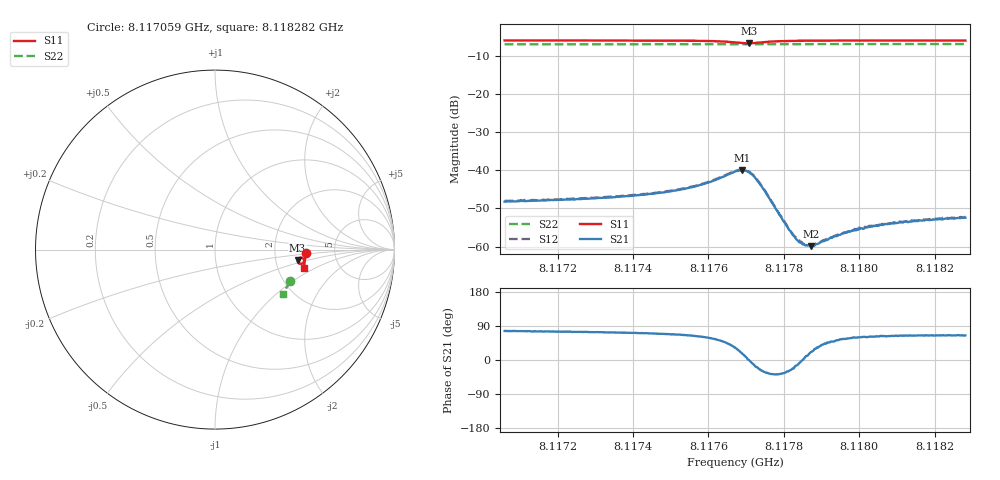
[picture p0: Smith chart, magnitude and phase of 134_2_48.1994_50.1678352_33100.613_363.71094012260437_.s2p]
#  HZ  S  RI  R  50.00
! Rohde & Schwarz Vector Network Analyzer
! Rohde-Schwarz,ZNB20-2Port,1311601062101988,3.16
! Created: UTC 3/20/2024, 11:42:02 AM
! freq[Hz]  re:S11  im:S11  re:S21  im:S21  re:S12  im:S12  re:S22  im:S22
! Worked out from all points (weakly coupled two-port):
!   401 points, 8.117059 GHz to 8.118282 GHz, reference 50 ohm
!   highest |S21| = -39.92 dB at 8.117689 GHz (marker M1); lowest = -59.9 dB at 8.117872 GHz (marker M2)
!   lowest |S11| = -6.7 dB at 8.117707 GHz (marker M3), VSWR 2.73, Z = 133 - j19.7 ohm
!   |S11| at or under -10 dB: nowhere
!   |S22| runs from -6.9 to -6.8 dB; largest |S21 - S12| = 0.00043
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8.1170593e9  0.5056 -0.0216  0.0009 0.00378  0.000955 0.00385  0.4161 -0.1736
8.117264e9  0.5041 -0.0383  0.00115 0.00404  0.00125 0.00414  0.4109 -0.1869
8.1173649e9  0.5028 -0.047  0.00135 0.0043  0.00143 0.00432  0.4082 -0.1933
8.1174688e9  0.5008 -0.057  0.00181 0.00473  0.00187 0.00483  0.4052 -0.2
8.1175299e9  0.4984 -0.0638  0.00227 0.00515  0.0024 0.00523  0.4033 -0.204
8.1175788e9  0.4949 -0.0702  0.00304 0.00566  0.00317 0.00573  0.4018 -0.2073
8.1176704e9  0.4706 -0.0785  0.00814 0.00524  0.00829 0.00521  0.398 -0.2128
8.1176888e9  0.4623 -0.0711  0.0096 0.00311  0.00973 0.00303  0.3973 -0.2134
8.1177071e9  0.4602 -0.0581  0.00949 1.47e-05  0.00966 -0.000101  0.3968 -0.214
8.1177254e9  0.4677 -0.0474  0.0074 -0.00243  0.00769 -0.00245  0.3967 -0.2147
8.1177407e9  0.4764 -0.0445  0.00549 -0.00289  0.00555 -0.00297  0.3967 -0.2156
8.1178018e9  0.4944 -0.0544  0.00172 -0.00115  0.00179 -0.00119  0.3955 -0.2198
8.1178232e9  0.4962 -0.0586  0.00132 -0.00054  0.00136 -0.000558  0.3949 -0.2213
8.1178416e9  0.4973 -0.0614  0.00112 -0.000144  0.00118 -0.000169  0.3943 -0.2226
8.1178568e9  0.4979 -0.0638  0.00102 0.000145  0.00106 0.000122  0.394 -0.2236
8.1178721e9  0.4981 -0.066  0.000942 0.000366  0.00101 0.000382  0.3935 -0.2246
8.1178752e9  0.4982 -0.0664  0.000966 0.000399  0.000978 0.000408  0.3933 -0.2247
8.117976e9  0.4983 -0.0779  0.00084 0.00133  0.000889 0.00134  0.3902 -0.2313
8.1180035e9  0.498 -0.0806  0.000861 0.00149  0.000891 0.00148  0.3892 -0.2328
8.1180799e9  0.4971 -0.0875  0.000892 0.00176  0.000922 0.00178  0.3866 -0.2378
8.1181349e9  0.4965 -0.0923  0.000908 0.00193  0.000926 0.00197  0.3846 -0.241
8.1182816e9  0.4942 -0.1041  0.00101 0.00217  0.00108 0.00224  0.3794 -0.2498
